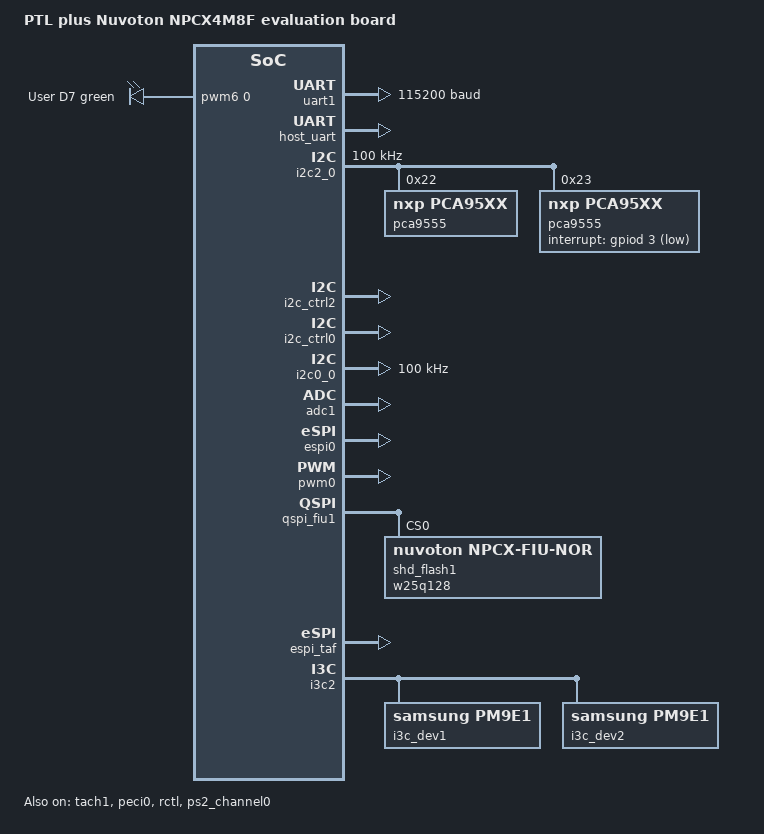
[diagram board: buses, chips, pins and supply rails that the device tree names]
/*
 * Copyright (c) 2024 Intel Corporation.
 *
 * SPDX-License-Identifier: Apache-2.0
 */

/dts-v1/;

#include <nuvoton/npcx4m8f.dtsi>
#include "npcx4m8f_ptl-pinctrl.dtsi"

/ {
	model = "PTL plus Nuvoton NPCX4M8F evaluation board";

	chosen {
		zephyr,sram = &sram0;
		zephyr,console = &uart1;
		zephyr,flash = &flash0;
	};

	aliases {
		i2c0 = &i2c2_0;
		i2c1 = &i2c0_0;
		ssd-i3c-bus = &i3c2;
		ssd-i3c-dev = &i3c_dev1;
		pwm0 = &pwm6;
		watchdog0 = &twd0;
		peci-0 = &peci0;
		taf-flash = &shd_flash1;
		espitaf = &espi_taf;
		spi-flash0 = &qspi_fiu1;
		ps2-port0 = &ps2_channel0;
	};

	leds-pwm {
		compatible = "pwm-leds";
		pwm_led0_green: pwm_led_0 {
			pwms = <&pwm6 0 PWM_MSEC(20) PWM_POLARITY_INVERTED>;
			label = "User D7 green";
		};
	};

	power-states {
		suspend_to_idle2: suspend-to-idle2 {
			compatible = "zephyr,power-state";
			power-state-name = "suspend-to-idle";
			substate-id = <0>;
			min-residency-us = <300000>;
		};
	};
};

/* Overwrite default device properties with overlays in board dt file here. */
&uart1 {
	status = "okay";
	current-speed = <115200>;
	/* Use UART1_SL2 ie. PIN64.65 */
	pinctrl-0 = <&uart1_2_sin_gp64 &uart1_2_sout_gp65>;
	pinctrl-names = "default";
};

/* Cannot use same UART HW block for BIOS logs
 * Need to match SIO_CLK to main clock
 */
&host_uart {
	compatible = "nuvoton,npcx-host-uart";
	status = "okay";
	pinctrl-0 = <&huart_rxd_gp75 &huart_txd_gp86 &sio_clk_sel_90m>;
	pinctrl-names = "default";
};

/* Slow I2C devices */

&i2c2_0 {
	status = "okay";
	clock-frequency = <I2C_BITRATE_STANDARD>;
	pinctrl-0 = <&i2c2_0_sda_scl_gp91_92>;
	pinctrl-names = "default";

	pca9555@22 {
		compatible = "nxp,pca95xx";
		reg = < 0x22 >;
		gpio-controller;
		#gpio-cells = < 0x2 >;
	};
	pca9555@23 {
		compatible = "nxp,pca95xx";
		reg = < 0x23 >;
		interrupt-gpios = <&gpiod 3 GPIO_ACTIVE_LOW>; /* IO expander interrupt is GPIOD3 */
		gpio-controller;
		#gpio-cells = < 0x2 >;
	};
};

&i2c_ctrl2 {
	status = "okay";
};

/* PD */
&i2c_ctrl0 {
	status = "okay";
};

&i2c0_0 {
	status = "okay";
	clock-frequency = <I2C_BITRATE_STANDARD>;
	pinctrl-0 = <&i2c0_0_sda_scl_gpb4_b5>;
	pinctrl-names = "default";
};

&adc1 {
	status = "okay";
	/* DDR_THERM_IN, SKIN_THERM_IN, VR_THERM_IN */
	pinctrl-0 = <&adc0_chan3_gp42 &adc0_chan1_gp44 &adc0_chan0_gp45>;
	pinctrl-names = "default";
};

&espi0 {
	status = "okay";
	pinctrl-0 = <&espi_lpc_gp46_47_51_52_53_54_55_57>;
	pinctrl-names = "default";
};

&pwm0 {
	status = "okay";
	pinctrl-0 = <&pwm0_gpc3>;
	pinctrl-names = "default";
};

&tach1 {
	status = "okay";
	pinctrl-0 = <&ta1_1_in_gp40>;
	pinctrl-names = "default";
	port = <NPCX_TACH_PORT_A>;
	sample-clk = <NPCX_TACH_FREQ_LFCLK>;
	pulses-per-round = <2>;
};

&peci0 {
	status = "okay";
	pinctrl-0 = <&peci_dat_gp81>;
	pinctrl-names = "default";
};

&pcc {
	clock-frequency = <DT_FREQ_M(90)>; /* OFMCLK runs at 90MHz */
	core-prescaler = <3>; /* CORE_CLK runs at 30MHz */
	apb1-prescaler = <6>; /* APB1_CLK runs at 15MHz */
	apb2-prescaler = <6>; /* APB2_CLK runs at 15MHz */
	apb3-prescaler = <6>; /* APB3_CLK runs at 15MHz */
	apb4-prescaler = <3>; /* APB4_CLK runs at 30MHz */
};

&rctl {
	status = "okay";
};

&qspi_fiu1 {
	status = "okay";
	en-direct-access-2dev;

	/* NOR flash */
	shd_flash1: w25q128@1 {
		compatible ="nuvoton,npcx-fiu-nor";
		size = <0x10000000>;  /* 32Mbytes size in bits */
		max-timeout = <86784>;
		reg = <0>;
		quad-enable-requirements = "S2B1v1";
		enter-4byte-addr = <0xB7>;
		status = "okay";

		/* Config for npcx4 SVB board - CS0 */
		qspi-flags = <NPCX_QSPI_SW_CS0>;
		mapped-addr = <0x68000000>;
		pinctrl-0 = <&fiu_ext_io0_io1_clk_cs_gpa4_96_a2_a0
			     &fiu_ext_quad_io2_io3_gp93_a7
			     &ext_flash_tris_off>;
		pinctrl-names = "default";

	};
};

&espi_taf {
	mapped-addr = <0x68000000>;
	max-read-sz = "NPCX_ESPI_TAF_MAX_READ_REQ_64B";
	erase-sz = "NPCX_ESPI_TAF_ERASE_BLOCK_SIZE_4KB";
	status = "okay";
};

&ps2_channel0 {
	status = "okay";
	pinctrl-0 = <&ps2_0_dat_clk_gp67_70>;
	pinctrl-names = "default";
};

&ps2_0_dat_clk_gp67_70 {
	drive-open-drain;
};

&i3c2 {
	status = "okay";
	i3c-scl-hz = <12500000>;
	i3c-od-scl-hz = <4170000>;
	pinctrl-0 = <&i3c3_sda_scl_gpf4_f5>;
	pinctrl-names = "default";
	/* required for Zephyr 4.1 with I3C target support */
	bcr = <0x67>; /* Set for controller mode */

	/* SSD */
	i3c_dev1: i3c-dev1@d0fefff1fd10 {
		compatible = "samsung,pm9e1";
		reg = <0x0 0x0000d0fe 0xfff1fd10>;
		status = "okay";
	};

	/* LSMOD sensor using dummy driver for test purposes */
	i3c_dev2: i3c-dev2@208006c100b {
		compatible = "samsung,pm9e1";
		reg = <0x0 0x00000208 0x006c100b>;
		status = "okay";
	};
};
